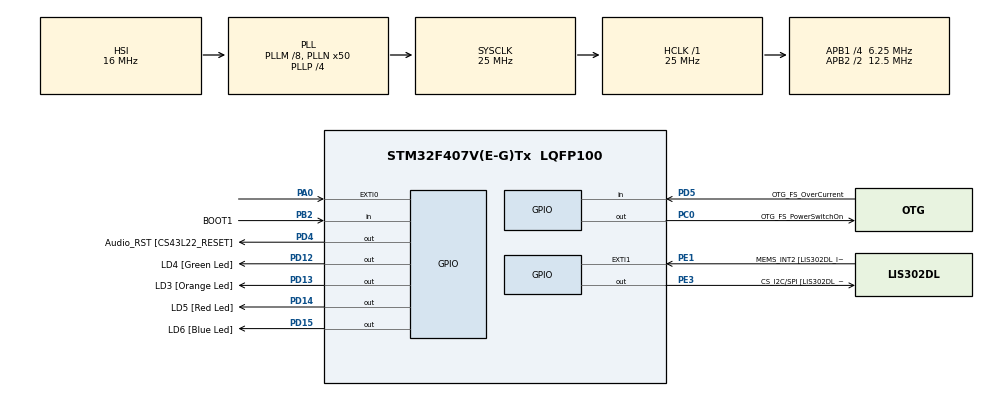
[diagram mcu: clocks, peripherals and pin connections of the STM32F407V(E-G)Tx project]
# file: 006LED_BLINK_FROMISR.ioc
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Mcu.Family=STM32F4
Mcu.Name=STM32F407V(E-G)Tx
Mcu.Package=LQFP100
NVIC.EXTI0_IRQn=true\:5\:0\:true\:false\:true\:true\:true\:true
NVIC.PriorityGroup=NVIC_PRIORITYGROUP_4
NVIC.TIM6_DAC_IRQn=true\:15\:0\:false\:false\:true\:false\:true\:true
NVIC.TimeBase=TIM6_DAC_IRQn
NVIC.TimeBaseIP=TIM6
PA0-WKUP.GPIO_ModeDefaultEXTI=GPIO_MODE_IT_FALLING
PA0-WKUP.Signal=GPXTI0
PA10.GPIO_Label=OTG_FS_ID
PA10.GPIO_Mode=GPIO_MODE_AF_PP
PA10.GPIO_PuPd=GPIO_NOPULL
PA10.GPIO_Speed=GPIO_SPEED_FREQ_LOW
PA10.Signal=USB_OTG_FS_ID
PA11.GPIO_Label=OTG_FS_DM
PA11.GPIO_Mode=GPIO_MODE_AF_PP
PA11.GPIO_PuPd=GPIO_NOPULL
PA11.GPIO_Speed=GPIO_SPEED_FREQ_LOW
PA11.Signal=USB_OTG_FS_DM
PA12.GPIO_Label=OTG_FS_DP
PA12.GPIO_Mode=GPIO_MODE_AF_PP
PA12.GPIO_PuPd=GPIO_NOPULL
PA12.GPIO_Speed=GPIO_SPEED_FREQ_LOW
PA12.Signal=USB_OTG_FS_DP
PA13.GPIO_Label=SWDIO
PA13.Signal=SYS_JTMS-SWDIO
PA14.GPIO_Label=SWCLK
PA14.Signal=SYS_JTCK-SWCLK
PA4.GPIO_Label=I2S3_WS [CS43L22_LRCK]
PA4.GPIO_Mode=GPIO_MODE_AF_PP
PA4.GPIO_PuPd=GPIO_NOPULL
PA4.GPIO_Speed=GPIO_SPEED_FREQ_LOW
PA4.Signal=I2S3_WS
PA5.GPIO_Label=SPI1_SCK [LIS302DL_SCL/SPC]
PA5.GPIO_Mode=GPIO_MODE_AF_PP
PA5.GPIO_PuPd=GPIO_NOPULL
PA5.GPIO_Speed=GPIO_SPEED_FREQ_LOW
PA5.Signal=SPI1_SCK
PA6.GPIO_Label=SPI1_MISO [LIS302DL_SDO]
PA6.GPIO_Mode=GPIO_MODE_AF_PP
PA6.GPIO_PuPd=GPIO_NOPULL
PA6.GPIO_Speed=GPIO_SPEED_FREQ_LOW
PA6.Signal=SPI1_MISO
PA7.GPIO_Label=SPI1_MOSI [LIS302DL_SDA/SDI/SDO]
PA7.GPIO_Mode=GPIO_MODE_AF_PP
PA7.GPIO_PuPd=GPIO_NOPULL
PA7.GPIO_Speed=GPIO_SPEED_FREQ_LOW
PA7.Signal=SPI1_MOSI
PA9.GPIO_Label=VBUS_FS
PA9.GPIO_Mode=GPIO_MODE_INPUT
PA9.GPIO_PuPd=GPIO_NOPULL
PA9.Signal=USB_OTG_FS_VBUS
PB10.GPIO_Label=CLK_IN [MP45DT02_CLK]
PB10.GPIO_Mode=GPIO_MODE_AF_PP
PB10.GPIO_PuPd=GPIO_NOPULL
PB10.GPIO_Speed=GPIO_SPEED_FREQ_LOW
PB10.Signal=I2S2_CK
PB2.GPIO_Label=BOOT1
PB2.GPIO_Mode=GPIO_MODE_INPUT
PB2.GPIO_PuPd=GPIO_NOPULL
PB2.Signal=GPIO_Input
PB3.GPIO_Label=SWO
PB3.Signal=SYS_JTDO-SWO
PB6.GPIO_Label=Audio_SCL [CS43L22_SCL]
PB6.GPIO_Mode=GPIO_MODE_AF_OD
PB6.GPIO_PuPd=GPIO_NOPULL
PB6.GPIO_Speed=GPIO_SPEED_FREQ_LOW
PB6.Signal=I2C1_SCL
PB9.GPIO_Label=Audio_SDA [CS43L22_SDA]
PB9.GPIO_Mode=GPIO_MODE_AF_OD
PB9.GPIO_PuPd=GPIO_NOPULL
PB9.GPIO_Speed=GPIO_SPEED_FREQ_LOW
PB9.Signal=I2C1_SDA
PC0.GPIO_Label=OTG_FS_PowerSwitchOn
PC0.GPIO_PuPd=GPIO_NOPULL
PC0.GPIO_Speed=GPIO_SPEED_FREQ_LOW
PC0.PinState=GPIO_PIN_SET
PC0.Signal=GPIO_Output
PC10.GPIO_Label=I2S3_SCK [CS43L22_SCLK]
PC10.GPIO_Mode=GPIO_MODE_AF_PP
PC10.GPIO_PuPd=GPIO_NOPULL
PC10.GPIO_Speed=GPIO_SPEED_FREQ_LOW
PC10.Signal=I2S3_CK
PC12.GPIO_Label=I2S3_SD [CS43L22_SDIN]
PC12.GPIO_Mode=GPIO_MODE_AF_PP
PC12.GPIO_PuPd=GPIO_NOPULL
PC12.GPIO_Speed=GPIO_SPEED_FREQ_LOW
PC12.Signal=I2S3_SD
PC14-OSC32_IN.GPIO_Label=PC14-OSC32_IN
PC14-OSC32_IN.Signal=RCC_OSC32_IN
PC15-OSC32_OUT.GPIO_Label=PC15-OSC32_OUT
PC15-OSC32_OUT.Signal=RCC_OSC32_OUT
PC3.GPIO_Label=PDM_OUT [MP45DT02_DOUT]
PC3.GPIO_Mode=GPIO_MODE_AF_PP
PC3.GPIO_PuPd=GPIO_NOPULL
PC3.GPIO_Speed=GPIO_SPEED_FREQ_LOW
PC3.Signal=I2S2_SD
PC7.GPIO_Label=I2S3_MCK [CS43L22_MCLK]
PC7.GPIO_Mode=GPIO_MODE_AF_PP
PC7.GPIO_PuPd=GPIO_NOPULL
PC7.GPIO_Speed=GPIO_SPEED_FREQ_LOW
PC7.Signal=I2S3_MCK
PD12.GPIO_Label=LD4 [Green Led]
PD12.GPIO_PuPd=GPIO_NOPULL
PD12.GPIO_Speed=GPIO_SPEED_FREQ_LOW
PD12.Signal=GPIO_Output
PD13.GPIO_Label=LD3 [Orange Led]
PD13.GPIO_PuPd=GPIO_NOPULL
PD13.GPIO_Speed=GPIO_SPEED_FREQ_LOW
PD13.Signal=GPIO_Output
PD14.GPIO_Label=LD5 [Red Led]
PD14.GPIO_PuPd=GPIO_NOPULL
PD14.GPIO_Speed=GPIO_SPEED_FREQ_LOW
PD14.Signal=GPIO_Output
PD15.GPIO_Label=LD6 [Blue Led]
PD15.GPIO_PuPd=GPIO_NOPULL
PD15.GPIO_Speed=GPIO_SPEED_FREQ_LOW
PD15.Signal=GPIO_Output
PD4.GPIO_Label=Audio_RST [CS43L22_RESET]
PD4.GPIO_PuPd=GPIO_NOPULL
PD4.GPIO_Speed=GPIO_SPEED_FREQ_LOW
PD4.Signal=GPIO_Output
PD5.GPIO_Label=OTG_FS_OverCurrent
PD5.GPIO_Mode=GPIO_MODE_INPUT
PD5.GPIO_PuPd=GPIO_NOPULL
PD5.Signal=GPIO_Input
PE1.GPIO_Label=MEMS_INT2 [LIS302DL_INT2]
PE1.GPIO_ModeDefaultEXTI=GPIO_MODE_EVT_RISING
PE1.GPIO_PuPd=GPIO_NOPULL
PE1.Signal=GPXTI1
PE3.GPIO_Label=CS_I2C/SPI [LIS302DL_CS_I2C/SPI]
PE3.GPIO_PuPd=GPIO_NOPULL
PE3.GPIO_Speed=GPIO_SPEED_FREQ_LOW
PE3.Signal=GPIO_Output
PH0-OSC_IN.GPIO_Label=PH0-OSC_IN
PH0-OSC_IN.Signal=RCC_OSC_IN
PH1-OSC_OUT.GPIO_Label=PH1-OSC_OUT
PH1-OSC_OUT.Signal=RCC_OSC_OUT
ProjectManager.HeapSize=0x200
ProjectManager.StackSize=0x400
ProjectManager.TargetToolchain=STM32CubeIDE
RCC.48MHZClocksFreq_Value=14285714.285714285
RCC.AHBFreq_Value=25000000
RCC.APB1CLKDivider=RCC_HCLK_DIV4
RCC.APB1Freq_Value=6250000
RCC.APB1TimFreq_Value=12500000
RCC.APB2CLKDivider=RCC_HCLK_DIV2
RCC.APB2Freq_Value=12500000
RCC.APB2TimFreq_Value=25000000
RCC.CortexFreq_Value=25000000
RCC.HCLKFreq_Value=25000000
RCC.HSE_VALUE=8000000
RCC.HSI_VALUE=16000000
RCC.LSE_VALUE=32768
RCC.PLLM=8
RCC.PLLN=50
RCC.PLLP=RCC_PLLP_DIV4
RCC.PLLQ=7
RCC.SYSCLKFreq_VALUE=25000000
RCC.SYSCLKSource=RCC_SYSCLKSOURCE_PLLCLK
RCC.VCOOutputFreq_Value=100000000
VP_SYS_VS_tim6.Mode=TIM6
board=STM32F407G-DISC1

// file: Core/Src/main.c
/* USER CODE BEGIN Header */
/**
  ******************************************************************************
  * @file           : main.c
  * @brief          : Main program body
  ******************************************************************************
  * @attention
  *
  * Copyright (c) 2025 STMicroelectronics.
  * All rights reserved.
  *
  * This software is licensed under terms that can be found in the LICENSE file
  * in the root directory of this software component.
  * If no LICENSE file comes with this software, it is provided AS-IS.
  *
  ******************************************************************************
  */
/* USER CODE END Header */
#include "main.h"

/* USER CODE BEGIN Includes */
#include<stdio.h>
#include<stdint.h>
#include"FreeRTOS.h"
#include"Task.h"

/* USER CODE END Includes */

/* USER CODE BEGIN PD */
volatile TaskHandle_t NEXT_HANDLE;
TaskHandle_t RED_HANDLE;
TaskHandle_t GREEN_HANDLE;
TaskHandle_t BLUE_HANDLE;
static void RED_HANDLER(void*parameters);
static void BLUE_HANDLER(void*parameters);
static void GREEN_HANDLER(void*parameters);

/* USER CODE END PD */

void SystemClock_Config(void);
static void MX_GPIO_Init(void);

int main(void)
{

  /* USER CODE BEGIN 1 */
BaseType_t status;

  /* USER CODE END 1 */

  /* MCU Configuration--------------------------------------------------------*/

  /* Reset of all peripherals, Initializes the Flash interface and the Systick. */
  HAL_Init();

  /* Configure the system clock */
  SystemClock_Config();

  /* Initialize all configured peripherals */
  MX_GPIO_Init();
  /* USER CODE BEGIN 2 */
  SEGGER_SYSVIEW_Conf();
     SEGGER_SYSVIEW_Start();
  status=xTaskCreate(RED_HANDLER,"RED_LED_BLINK",200,"NULL",2,&RED_HANDLE);
  configASSERT(status==pdPASS);
  status=xTaskCreate(BLUE_HANDLER,"BLUE_LED_BLINK",200,"NULL",2,&BLUE_HANDLE);
   configASSERT(status==pdPASS);
   status=xTaskCreate(GREEN_HANDLER,"GREEN_LED_BLINK",200,"NULL",2,&GREEN_HANDLE);
    configASSERT(status==pdPASS);
    NEXT_HANDLE=RED_HANDLE;
 vTaskStartScheduler();
  /* USER CODE END 2 */

  /* Infinite loop */
  while (1)
  {

  }
}

void SystemClock_Config(void)
{
  RCC_OscInitTypeDef RCC_OscInitStruct = {0};
  RCC_ClkInitTypeDef RCC_ClkInitStruct = {0};

  /** Configure the main internal regulator output voltage
  */
  __HAL_RCC_PWR_CLK_ENABLE();
  __HAL_PWR_VOLTAGESCALING_CONFIG(PWR_REGULATOR_VOLTAGE_SCALE1);

  /** Initializes the RCC Oscillators according to the specified parameters
  * in the RCC_OscInitTypeDef structure.
  */
  RCC_OscInitStruct.OscillatorType = RCC_OSCILLATORTYPE_HSI;
  RCC_OscInitStruct.HSIState = RCC_HSI_ON;
  RCC_OscInitStruct.HSICalibrationValue = RCC_HSICALIBRATION_DEFAULT;
  RCC_OscInitStruct.PLL.PLLState = RCC_PLL_ON;
  RCC_OscInitStruct.PLL.PLLSource = RCC_PLLSOURCE_HSI;
  RCC_OscInitStruct.PLL.PLLM = 8;
  RCC_OscInitStruct.PLL.PLLN = 50;
  RCC_OscInitStruct.PLL.PLLP = RCC_PLLP_DIV4;
  RCC_OscInitStruct.PLL.PLLQ = 7;
  if (HAL_RCC_OscConfig(&RCC_OscInitStruct) != HAL_OK)
  {
    Error_Handler();
  }

  /** Initializes the CPU, AHB and APB buses clocks
  */
  RCC_ClkInitStruct.ClockType = RCC_CLOCKTYPE_HCLK|RCC_CLOCKTYPE_SYSCLK
                              |RCC_CLOCKTYPE_PCLK1|RCC_CLOCKTYPE_PCLK2;
  RCC_ClkInitStruct.SYSCLKSource = RCC_SYSCLKSOURCE_PLLCLK;
  RCC_ClkInitStruct.AHBCLKDivider = RCC_SYSCLK_DIV1;
  RCC_ClkInitStruct.APB1CLKDivider = RCC_HCLK_DIV4;
  RCC_ClkInitStruct.APB2CLKDivider = RCC_HCLK_DIV2;

  if (HAL_RCC_ClockConfig(&RCC_ClkInitStruct, FLASH_LATENCY_0) != HAL_OK)
  {
    Error_Handler();
  }
}

static void MX_GPIO_Init(void)
{
  GPIO_InitTypeDef GPIO_InitStruct = {0};

  /* GPIO Ports Clock Enable */
  __HAL_RCC_GPIOE_CLK_ENABLE();
  __HAL_RCC_GPIOC_CLK_ENABLE();
  __HAL_RCC_GPIOH_CLK_ENABLE();
  __HAL_RCC_GPIOA_CLK_ENABLE();
  __HAL_RCC_GPIOB_CLK_ENABLE();
  __HAL_RCC_GPIOD_CLK_ENABLE();

  /*Configure GPIO pin Output Level */
  HAL_GPIO_WritePin(CS_I2C_SPI_GPIO_Port, CS_I2C_SPI_Pin, GPIO_PIN_RESET);

  /*Configure GPIO pin Output Level */
  HAL_GPIO_WritePin(OTG_FS_PowerSwitchOn_GPIO_Port, OTG_FS_PowerSwitchOn_Pin, GPIO_PIN_SET);

  /*Configure GPIO pin Output Level */
  HAL_GPIO_WritePin(GPIOD, LD4_Pin|LD3_Pin|LD5_Pin|LD6_Pin
                          |Audio_RST_Pin, GPIO_PIN_RESET);

  /*Configure GPIO pin : CS_I2C_SPI_Pin */
  GPIO_InitStruct.Pin = CS_I2C_SPI_Pin;
  GPIO_InitStruct.Mode = GPIO_MODE_OUTPUT_PP;
  GPIO_InitStruct.Pull = GPIO_NOPULL;
  GPIO_InitStruct.Speed = GPIO_SPEED_FREQ_LOW;
  HAL_GPIO_Init(CS_I2C_SPI_GPIO_Port, &GPIO_InitStruct);

  /*Configure GPIO pin : OTG_FS_PowerSwitchOn_Pin */
  GPIO_InitStruct.Pin = OTG_FS_PowerSwitchOn_Pin;
  GPIO_InitStruct.Mode = GPIO_MODE_OUTPUT_PP;
  GPIO_InitStruct.Pull = GPIO_NOPULL;
  GPIO_InitStruct.Speed = GPIO_SPEED_FREQ_LOW;
  HAL_GPIO_Init(OTG_FS_PowerSwitchOn_GPIO_Port, &GPIO_InitStruct);

  /*Configure GPIO pin : PDM_OUT_Pin */
  GPIO_InitStruct.Pin = PDM_OUT_Pin;
  GPIO_InitStruct.Mode = GPIO_MODE_AF_PP;
  GPIO_InitStruct.Pull = GPIO_NOPULL;
  GPIO_InitStruct.Speed = GPIO_SPEED_FREQ_LOW;
  GPIO_InitStruct.Alternate = GPIO_AF5_SPI2;
  HAL_GPIO_Init(PDM_OUT_GPIO_Port, &GPIO_InitStruct);

  /*Configure GPIO pin : PA0 */
  GPIO_InitStruct.Pin = GPIO_PIN_0;
  GPIO_InitStruct.Mode = GPIO_MODE_IT_FALLING;
  GPIO_InitStruct.Pull = GPIO_NOPULL;
  HAL_GPIO_Init(GPIOA, &GPIO_InitStruct);

  /*Configure GPIO pin : I2S3_WS_Pin */
  GPIO_InitStruct.Pin = I2S3_WS_Pin;
  GPIO_InitStruct.Mode = GPIO_MODE_AF_PP;
  GPIO_InitStruct.Pull = GPIO_NOPULL;
  GPIO_InitStruct.Speed = GPIO_SPEED_FREQ_LOW;
  GPIO_InitStruct.Alternate = GPIO_AF6_SPI3;
  HAL_GPIO_Init(I2S3_WS_GPIO_Port, &GPIO_InitStruct);

  /*Configure GPIO pins : SPI1_SCK_Pin SPI1_MISO_Pin SPI1_MOSI_Pin */
  GPIO_InitStruct.Pin = SPI1_SCK_Pin|SPI1_MISO_Pin|SPI1_MOSI_Pin;
  GPIO_InitStruct.Mode = GPIO_MODE_AF_PP;
  GPIO_InitStruct.Pull = GPIO_NOPULL;
  GPIO_InitStruct.Speed = GPIO_SPEED_FREQ_LOW;
  GPIO_InitStruct.Alternate = GPIO_AF5_SPI1;
  HAL_GPIO_Init(GPIOA, &GPIO_InitStruct);

  /*Configure GPIO pin : BOOT1_Pin */
  GPIO_InitStruct.Pin = BOOT1_Pin;
  GPIO_InitStruct.Mode = GPIO_MODE_INPUT;
  GPIO_InitStruct.Pull = GPIO_NOPULL;
  HAL_GPIO_Init(BOOT1_GPIO_Port, &GPIO_InitStruct);

  /*Configure GPIO pin : CLK_IN_Pin */
  GPIO_InitStruct.Pin = CLK_IN_Pin;
  GPIO_InitStruct.Mode = GPIO_MODE_AF_PP;
  GPIO_InitStruct.Pull = GPIO_NOPULL;
  GPIO_InitStruct.Speed = GPIO_SPEED_FREQ_LOW;
  GPIO_InitStruct.Alternate = GPIO_AF5_SPI2;
  HAL_GPIO_Init(CLK_IN_GPIO_Port, &GPIO_InitStruct);

  /*Configure GPIO pins : LD4_Pin LD3_Pin LD5_Pin LD6_Pin
                           Audio_RST_Pin */
  GPIO_InitStruct.Pin = LD4_Pin|LD3_Pin|LD5_Pin|LD6_Pin
                          |Audio_RST_Pin;
  GPIO_InitStruct.Mode = GPIO_MODE_OUTPUT_PP;
  GPIO_InitStruct.Pull = GPIO_NOPULL;
  GPIO_InitStruct.Speed = GPIO_SPEED_FREQ_LOW;
  HAL_GPIO_Init(GPIOD, &GPIO_InitStruct);

  /*Configure GPIO pins : I2S3_MCK_Pin I2S3_SCK_Pin I2S3_SD_Pin */
  GPIO_InitStruct.Pin = I2S3_MCK_Pin|I2S3_SCK_Pin|I2S3_SD_Pin;
  GPIO_InitStruct.Mode = GPIO_MODE_AF_PP;
  GPIO_InitStruct.Pull = GPIO_NOPULL;
  GPIO_InitStruct.Speed = GPIO_SPEED_FREQ_LOW;
  GPIO_InitStruct.Alternate = GPIO_AF6_SPI3;
  HAL_GPIO_Init(GPIOC, &GPIO_InitStruct);

  /*Configure GPIO pin : VBUS_FS_Pin */
  GPIO_InitStruct.Pin = VBUS_FS_Pin;
  GPIO_InitStruct.Mode = GPIO_MODE_INPUT;
  GPIO_InitStruct.Pull = GPIO_NOPULL;
  HAL_GPIO_Init(VBUS_FS_GPIO_Port, &GPIO_InitStruct);

  /*Configure GPIO pins : OTG_FS_ID_Pin OTG_FS_DM_Pin OTG_FS_DP_Pin */
  GPIO_InitStruct.Pin = OTG_FS_ID_Pin|OTG_FS_DM_Pin|OTG_FS_DP_Pin;
  GPIO_InitStruct.Mode = GPIO_MODE_AF_PP;
  GPIO_InitStruct.Pull = GPIO_NOPULL;
  GPIO_InitStruct.Speed = GPIO_SPEED_FREQ_LOW;
  GPIO_InitStruct.Alternate = GPIO_AF10_OTG_FS;
  HAL_GPIO_Init(GPIOA, &GPIO_InitStruct);

  /*Configure GPIO pin : OTG_FS_OverCurrent_Pin */
  GPIO_InitStruct.Pin = OTG_FS_OverCurrent_Pin;
  GPIO_InitStruct.Mode = GPIO_MODE_INPUT;
  GPIO_InitStruct.Pull = GPIO_NOPULL;
  HAL_GPIO_Init(OTG_FS_OverCurrent_GPIO_Port, &GPIO_InitStruct);

  /*Configure GPIO pins : Audio_SCL_Pin Audio_SDA_Pin */
  GPIO_InitStruct.Pin = Audio_SCL_Pin|Audio_SDA_Pin;
  GPIO_InitStruct.Mode = GPIO_MODE_AF_OD;
  GPIO_InitStruct.Pull = GPIO_NOPULL;
  GPIO_InitStruct.Speed = GPIO_SPEED_FREQ_LOW;
  GPIO_InitStruct.Alternate = GPIO_AF4_I2C1;
  HAL_GPIO_Init(GPIOB, &GPIO_InitStruct);

  /*Configure GPIO pin : MEMS_INT2_Pin */
  GPIO_InitStruct.Pin = MEMS_INT2_Pin;
  GPIO_InitStruct.Mode = GPIO_MODE_EVT_RISING;
  GPIO_InitStruct.Pull = GPIO_NOPULL;
  HAL_GPIO_Init(MEMS_INT2_GPIO_Port, &GPIO_InitStruct);

  /* EXTI interrupt init*/
  HAL_NVIC_SetPriority(EXTI0_IRQn, 5, 0);
  HAL_NVIC_EnableIRQ(EXTI0_IRQn);

}

/* USER CODE BEGIN 4 */
static void RED_HANDLER(void*parameters){
	BaseType_t status;
	while(1){
		SEGGER_SYSVIEW_PrintfTarget("toggling red led");
		HAL_GPIO_TogglePin(GPIOD, RED_LED_PIN);
		status=xTaskNotifyWait(0,0,NULL,pdMS_TO_TICKS(1000));
		if (status==pdTRUE){
			portENTER_CRITICAL();
			NEXT_HANDLE=BLUE_HANDLE;
			portEXIT_CRITICAL();
			HAL_GPIO_WritePin(GPIOD, RED_LED_PIN,GPIO_PIN_SET);
			SEGGER_SYSVIEW_PrintfTarget("deleting red led handler !!");
			//passing null as an argument in vtsakdelete if task is self deleting !!
			vTaskDelete(NULL);

		}

	}

}
static void BLUE_HANDLER(void*parameters)
{BaseType_t status;
	while(1){
		SEGGER_SYSVIEW_PrintfTarget("toggling blue led");
				HAL_GPIO_TogglePin(GPIOD, BLUE_LED_PIN);
				status=xTaskNotifyWait(0,0,NULL,pdMS_TO_TICKS(1000));
				if (status==pdTRUE){
					portENTER_CRITICAL();
					NEXT_HANDLE=GREEN_HANDLE;
					portEXIT_CRITICAL();
					HAL_GPIO_WritePin(GPIOD, BLUE_LED_PIN,GPIO_PIN_SET);
					SEGGER_SYSVIEW_PrintfTarget("deleting blue led handler !!");
					//passing null as an argument in vtsakdelete if task is self deleting !!
					vTaskDelete(NULL);

				}
	}

}
static void GREEN_HANDLER(void*parameters){
	BaseType_t status;
	while(1){
		SEGGER_SYSVIEW_PrintfTarget("toggling GREEN led");
				HAL_GPIO_TogglePin(GPIOD, GREEN_LED_PIN);
				status=xTaskNotifyWait(0,0,NULL,pdMS_TO_TICKS(1000));
				if (status==pdTRUE){
					portENTER_CRITICAL();
					NEXT_HANDLE=RED_HANDLE;
					portEXIT_CRITICAL();
					HAL_GPIO_WritePin(GPIOD, GREEN_LED_PIN,GPIO_PIN_SET);
					SEGGER_SYSVIEW_PrintfTarget("deleting green led handler and button handler too !!");
					//passing null as an argument in vtsakdelete if task is self deleting !!

					vTaskDelete(NULL);

				}

	}}

void BUTTON_INTERRUPT_HANDLER(void){
	while(1){
	BaseType_t pxHigherpriorityTaskWoken=pdFALSE;
	 traceISR_ENTER();
	 xTaskNotifyFromISR(NEXT_HANDLE,0,eNoAction,&pxHigherpriorityTaskWoken);
	 portYIELD_FROM_ISR(pxHigherpriorityTaskWoken);
	 traceISR_EXIT();
	}

}

/* USER CODE END 4 */

void HAL_TIM_PeriodElapsedCallback(TIM_HandleTypeDef *htim)
{
  if (htim->Instance == TIM6)
  {
    HAL_IncTick();
  }
}

void Error_Handler(void)
{
  __disable_irq();
  while (1)
  {
  }
}
